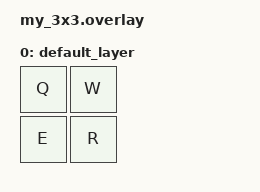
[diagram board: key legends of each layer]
/ {
    chosen {
        zmk,kscan = &kscan0;
    };

    kscan0: kscan {
        compatible = "zmk,kscan-gpio";
        label = "KSCAN";

        col-gpios = <&gpio0 2 GPIO_ACTIVE_LOW>,
                    <&gpio0 3 GPIO_ACTIVE_LOW>,
                    <&gpio0 28 GPIO_ACTIVE_LOW>,
                    <&gpio0 29 GPIO_ACTIVE_LOW>;

        row-gpios = <>;
        diode-direction = "col2row";
    };

    keymap {
        compatible = "zmk,keymap";

        default_layer {
            bindings = <
                &kp Q &kp W
                &kp E &kp R
            >;
        };
    };
};
